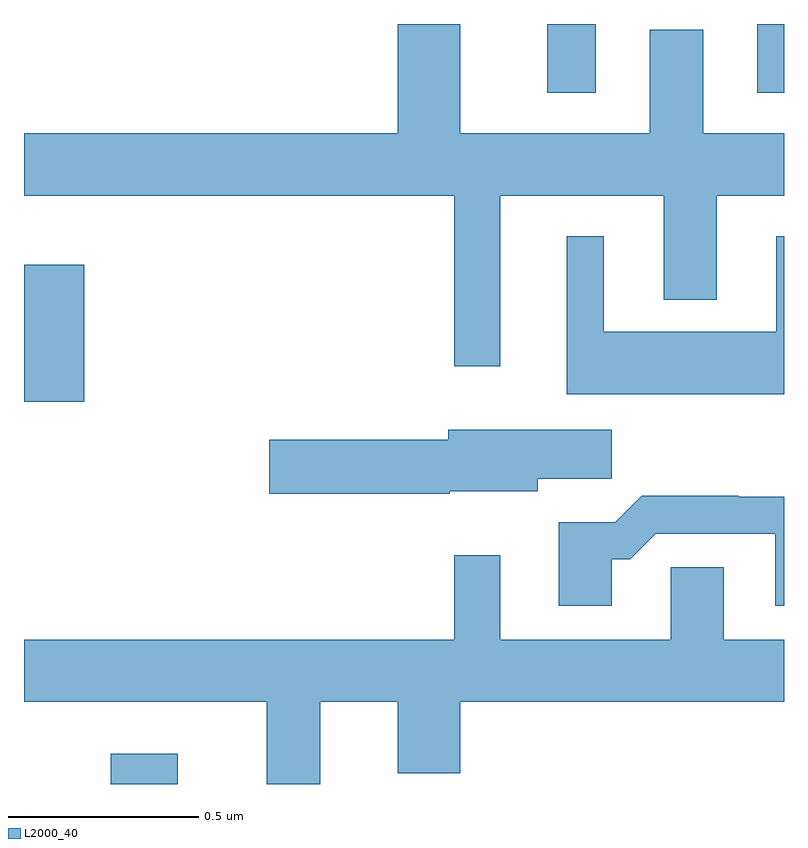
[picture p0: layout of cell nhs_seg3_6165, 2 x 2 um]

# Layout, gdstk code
import gdstk
lib = gdstk.Library(unit=1e-6, precision=1e-09)
def R(c, l, rs):  # rectangles x0, y0, x1, y1
    for r in rs: c.add(gdstk.rectangle(r[:2], r[2:], *l))
def P(c, l, *ps):  # polygons
    for p in ps: c.add(gdstk.Polygon(p, *l))
L2000_40 = (2000, 40)

nhs_seg3_6165 = lib.new_cell('nhs_seg3_6165')
R(nhs_seg3_6165, L2000_40, [(188.228,667.4,188.404,667.48), (188,668.406,188.159,668.767), (189.377,669.219,189.505,669.4), (189.929,669.219,190,669.4)])
P(nhs_seg3_6165, L2000_40, [(189.253,668.948),(189.683,668.948),(189.683,668.675),(189.823,668.675),(189.823,668.948),(190,668.948),(190,669.112),(189.787,669.112),(189.787,669.385),(189.647,669.385),(189.647,669.112),(189.148,669.112),(189.148,669.4),(188.984,669.4),(188.984,669.112),(188,669.112),(188,668.948),(189.132,668.948),(189.132,668.499),(189.253,668.499)],
  [(190,668.842),(189.98,668.842),(189.98,668.59),(189.526,668.59),(189.526,668.842),(189.428,668.842),(189.428,668.426),(190,668.426)],
  [(189.12,668.171),(189.352,668.171),(189.352,668.203),(189.547,668.203),(189.547,668.332),(189.116,668.332),(189.116,668.306),(188.646,668.306),(188.646,668.164),(189.12,668.164)],
  [(189.547,667.991),(189.596,667.991),(189.663,668.058),(189.977,668.058),(189.977,667.869),(190,667.869),(190,668.156),(189.881,668.156),(189.881,668.159),(189.626,668.159),(189.556,668.089),(189.407,668.089),(189.407,667.869),(189.547,667.869)],
  [(188.779,667.616),(188.984,667.616),(188.984,667.428),(189.148,667.428),(189.148,667.616),(190,667.616),(190,667.78),(189.841,667.78),(189.841,667.97),(189.702,667.97),(189.702,667.78),(189.253,667.78),(189.253,668.002),(189.132,668.002),(189.132,667.78),(188,667.78),(188,667.616),(188.639,667.616),(188.639,667.4),(188.779,667.4)])

lib.write_gds('nhs_seg3_6165.gds')
